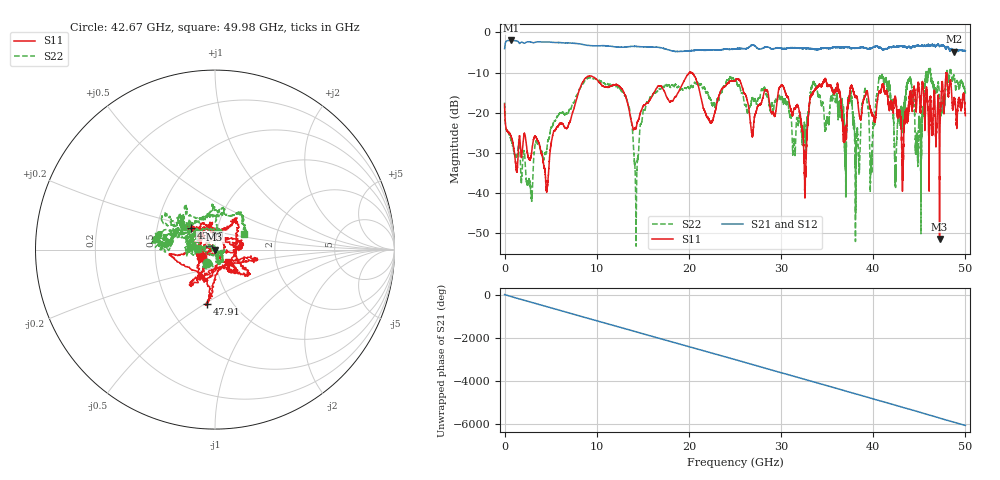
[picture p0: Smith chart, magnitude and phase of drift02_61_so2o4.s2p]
!Created with skrf (http://scikit-rf.org).
# Hz S RI R 50.0
!freq ReS11 ImS11 ReS21 ImS21 ReS12 ImS12 ReS22 ImS22
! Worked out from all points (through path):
!   10001 points, 300 kHz to 50 GHz, reference 50 ohm
!   highest |S21| = -1.99 dB at 685.3 MHz (marker M1); lowest = -4.8 dB at 48.76 GHz (marker M2)
!   group delay of S21, straight-line fit = 337 ps
!   lowest |S11| = -51.6 dB at 47.2 GHz (marker M3), VSWR 1.01, Z = 49.8 - j0.129 ohm
!   |S11| at or under -10 dB: start of sweep to 20.07 GHz; 20.20709 GHz to 20.21949 GHz (12.41 MHz wide, 0.0614 % of centre); 20.24 GHz to end of sweep (the widest 3 of 5)
!   |S22| runs from -53.4 to -8.9 dB; largest |S21 - S12| = 0.034
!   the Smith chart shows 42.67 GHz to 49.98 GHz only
!   S11 on the Smith chart (normalised r, x): 42.67 GHz: 0.86, -0.07; 43.99 GHz: 0.75, +0.19; 47.91 GHz: 0.77, -0.51; 49.98 GHz: 1.15, -0.15
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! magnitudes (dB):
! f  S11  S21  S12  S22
! 300 kHz  -17.9  -4.1  -4.0  -17.5
! 685.3 MHz  -25.9  -2.0  -2.0  -26.7
! 4.575 GHz  -39.6  -2.4  -2.4  -29.1
! 8.335 GHz  -13.0  -2.9  -2.9  -13.2
! 13.01 GHz  -15.3  -3.6  -3.6  -15.7
! 14.28 GHz  -23.8  -3.5  -3.5  -49.2
! 16.67 GHz  -13.3  -3.7  -3.7  -14.5
! 25 GHz  -12.1  -4.1  -4.1  -12.2
! 30.18 GHz  -13.3  -4.0  -4.1  -16.5
! 32.58 GHz  -39.6  -3.9  -4.0  -23.8
! 33.34 GHz  -15.7  -4.0  -4.0  -13.7
! 38.29 GHz  -16.8  -3.9  -3.9  -24.1
! 41.67 GHz  -18.2  -3.7  -4.0  -12.5
! 42.67 GHz  -21.5  -3.5  -3.5  -21.4
! 43.99 GHz  -14.9  -3.7  -3.7  -11.1
! 44.99 GHz  -14.8  -3.4  -3.3  -22.1
! 45.9 GHz  -16.9  -3.2  -3.2  -11.4
! 47.2 GHz  -51.6  -3.4  -3.4  -16.3
! 47.91 GHz  -10.3  -4.2  -4.1  -11.3
! 48.76 GHz  -16.9  -4.8  -4.8  -10.7
! 49.98 GHz  -20.0  -4.6  -4.5  -14.9
! 50 GHz  -20.8  -4.6  -4.6  -15.3
